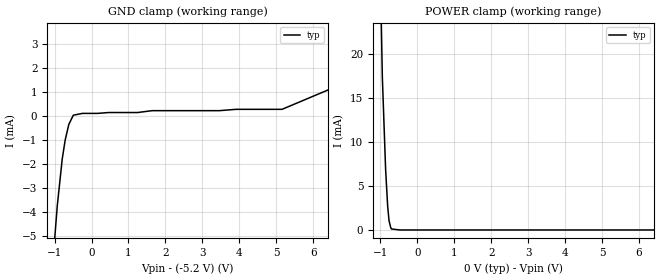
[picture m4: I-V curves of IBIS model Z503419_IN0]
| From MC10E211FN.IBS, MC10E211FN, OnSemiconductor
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| (C) COPYRIGHT 1993-2000
| MENTOR GRAPHICS CORPORATION
| ICX STANDARD LIBRARY, ICX PROJECT MODELING,
| ICX CUSTOM MODELING, ICX VENDOR MODEL
| ALL RIGHTS RESERVED.
| THE FOLLOWING ARE TRADEMARKS OR SERVICE MARKS OF
| MENTOR GRAPHICS CORPORATION:ICX (R), ICX STANDARD
| LIBRARY(R), ICX PROJECT MODELING(R), ICX CUSTOM
| MODELING(R), qualityIBIS(TM), MODELVIEWER(TM),
| AND MODELEDITOR(TM)
| ALL COPIES OF SOFTWARE, INCLUDING BUT NOT LIMITED TO
| ANY MODIFICATIONS, ENHANCEMENTS OR DERIVATIVE WORKS,
| MUST CONTAIN ALL MENTOR GRAPHICS CORPORATION'S
| NOTICES AND LEGENDS, INCLUDING THOSE EMBEDDED IN
| SOFTWARE AND THOSE AFFIXED TO SOFTWARE MEDIUM
| AND CONTAINER, AS RECEIVED FROM MENTOR GRAPHICS
| CORPORATION.
| Model Application Version 1.89 2/18/99.
[Model] Z503419_IN0
Model_type Input_ECL
Vinl = -1.480V
Vinh = -1.130V
C_comp 4.000pF NA NA
| variable typ   min   max
[Voltage Range] -5.200V NA NA
[GND Clamp Reference] -5.200V NA NA
[POWER Clamp Reference] 0.000V NA NA
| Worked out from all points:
|   GND clamp passes 1 mA (typ) near -0.71 V on its own axis
|   POWER clamp passes 1 mA (typ) near -0.76 V on its own axis
[GND Clamp]
-5.2V     -219.5mA   NA         NA
-1.01V    -5.378mA   NA         NA
-928mV    -3.764mA   NA         NA
-793mV    -1.802mA   NA         NA
-713mV    -1.015mA   NA         NA
-615mV    -366.8uA   NA         NA
-493mV    19.18uA    NA         NA
-246.5mV  93.92uA    NA         NA
1.247V    129.8uA    NA         NA
1.64V     207.4uA    NA         NA
5.157V    263.1uA    NA         NA
10.4V     3.655mA    NA         NA
[POWER Clamp]
-5.2V     1.597A     NA         NA
-1.268V   110.3mA    NA         NA
-1.044V   38.52mA    NA         NA
-947.5mV  17.38mA    NA         NA
-859.2mV  6.922mA    NA         NA
-803.9mV  2.729mA    NA         NA
-766.7mV  1.071mA    NA         NA
-722.8mV  300.5uA    NA         NA
-703.5mV  113.8uA    NA         NA
-469mV    0A         NA         NA
10.4V     0A         NA         NA
